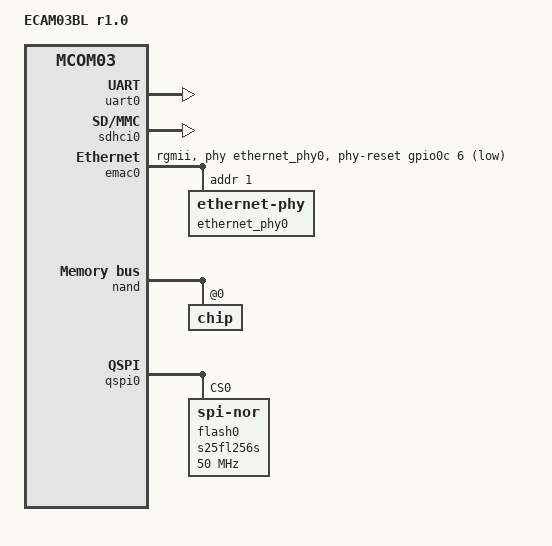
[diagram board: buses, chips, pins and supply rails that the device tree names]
// SPDX-License-Identifier: GPL-2.0+
/*
 * Copyright 2022 RnD Center "ELVEES", JSC
 */

/dts-v1/;

#include <dt-bindings/gpio/gpio.h>

#include "mcom03.dtsi"

/ {
	model = "ECAM03BL r1.0";
	compatible = "elvees,ecam03bl-r1.0",
		     "elvees,ecam03bl",
		     "elvees,mcom03";

	aliases {
		mmc0 = &sdhci1;
		mmc1 = &sdhci0;
	};

	chosen {
		stdout-path = "serial0:115200n8";
	};
};

&uart0 {
	status = "okay";
	clock-frequency = <27920454>;
};

&sdhci0 {
	status = "okay";

	/* Disable High Speed support
	 * Disable 1.8V support
	 * Disable SDR50, SDR104 and DDR50 support
	 */
	sdhci-caps-mask = <0x7 0x4200000>;
	sdhci-caps = <0x0 0x0>;
};

&emac0 {
	status = "okay";
	phy-mode = "rgmii";
	phy-handle = <&ethernet_phy0>;
	phy-reset-gpios = <&gpio0c 6 GPIO_ACTIVE_LOW>;
	elvees,pads-1v8-en;

	ethernet_phy0: ethernet-phy@1 {
		reg = <0x1>;
		/* This is max GTX_CLK skew (0b11111 * 60ps/step)
		 * for KSZ9031 Ethernet PHY
		 */
		txc-skew-ps = <1860>;
	};
};

&nand {
	status = "okay";
	chip@0 {
		reg = <0>;
		nand-ecc-mode="hw";
	};
};

&qspi0 {
	status = "okay";

	flash0: s25fl256s@0 {
		#address-cells = <1>;
		#size-cells = <1>;
		compatible = "jedec,spi-nor", "spi-flash";
		reg = <0x0>;
		/* This is the highest frequency at which all commands are
		 * supported by the flash device.
		 */
		spi-max-frequency = <50000000>;

		spi-tx-bus-width = <4>;
		spi-rx-bus-width = <4>;
	};
};
